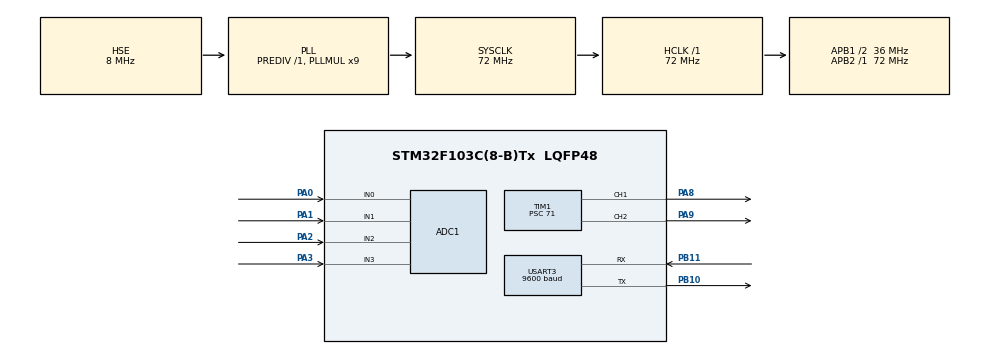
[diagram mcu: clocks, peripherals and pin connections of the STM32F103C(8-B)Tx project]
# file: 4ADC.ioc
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ADC1.Channel-0\#ChannelRegularConversion=ADC_CHANNEL_0
ADC1.Channel-1\#ChannelRegularConversion=ADC_CHANNEL_1
ADC1.Channel-4\#ChannelRegularConversion=ADC_CHANNEL_2
ADC1.Channel-5\#ChannelRegularConversion=ADC_CHANNEL_3
ADC1.ContinuousConvMode=DISABLE
ADC1.NbrOfConversion=4
ADC1.NbrOfConversionFlag=1
ADC1.Rank-0\#ChannelRegularConversion=1
ADC1.Rank-1\#ChannelRegularConversion=2
ADC1.Rank-4\#ChannelRegularConversion=3
ADC1.Rank-5\#ChannelRegularConversion=4
ADC1.SamplingTime-0\#ChannelRegularConversion=ADC_SAMPLETIME_1CYCLE_5
ADC1.SamplingTime-1\#ChannelRegularConversion=ADC_SAMPLETIME_1CYCLE_5
ADC1.SamplingTime-4\#ChannelRegularConversion=ADC_SAMPLETIME_1CYCLE_5
ADC1.SamplingTime-5\#ChannelRegularConversion=ADC_SAMPLETIME_1CYCLE_5
ADC1.master=1
Dma.ADC1.0.Direction=DMA_PERIPH_TO_MEMORY
Dma.ADC1.0.Instance=DMA1_Channel1
Dma.ADC1.0.MemDataAlignment=DMA_MDATAALIGN_HALFWORD
Dma.ADC1.0.MemInc=DMA_MINC_ENABLE
Dma.ADC1.0.Mode=DMA_NORMAL
Dma.ADC1.0.PeriphDataAlignment=DMA_PDATAALIGN_HALFWORD
Dma.ADC1.0.PeriphInc=DMA_PINC_DISABLE
Dma.ADC1.0.Priority=DMA_PRIORITY_LOW
Dma.Request0=ADC1
Mcu.Family=STM32F1
Mcu.Name=STM32F103C(8-B)Tx
Mcu.Package=LQFP48
NVIC.DMA1_Channel1_IRQn=true\:0\:0\:false\:false\:true\:false\:true\:true
NVIC.PriorityGroup=NVIC_PRIORITYGROUP_4
PA0-WKUP.Signal=ADCx_IN0
PA1.Signal=ADCx_IN1
PA13.Mode=Serial_Wire
PA13.Signal=SYS_JTMS-SWDIO
PA14.Mode=Serial_Wire
PA14.Signal=SYS_JTCK-SWCLK
PA2.Signal=ADCx_IN2
PA3.Signal=ADCx_IN3
PA8.Signal=S_TIM1_CH1
PA9.Signal=S_TIM1_CH2
PB10.Mode=Asynchronous
PB10.Signal=USART3_TX
PB11.Mode=Asynchronous
PB11.Signal=USART3_RX
PC14-OSC32_IN.Mode=LSE-External-Oscillator
PC14-OSC32_IN.Signal=RCC_OSC32_IN
PC15-OSC32_OUT.Mode=LSE-External-Oscillator
PC15-OSC32_OUT.Signal=RCC_OSC32_OUT
PD0-OSC_IN.Mode=HSE-External-Oscillator
PD0-OSC_IN.Signal=RCC_OSC_IN
PD1-OSC_OUT.Mode=HSE-External-Oscillator
PD1-OSC_OUT.Signal=RCC_OSC_OUT
ProjectManager.HeapSize=0x200
ProjectManager.StackSize=0x400
ProjectManager.TargetToolchain=MDK-ARM V5.32
RCC.ADCPresc=RCC_ADCPCLK2_DIV6
RCC.AHBFreq_Value=72000000
RCC.APB1CLKDivider=RCC_HCLK_DIV2
RCC.APB1Freq_Value=36000000
RCC.APB1TimFreq_Value=72000000
RCC.APB2Freq_Value=72000000
RCC.APB2TimFreq_Value=72000000
RCC.HCLKFreq_Value=72000000
RCC.PLLMUL=RCC_PLL_MUL9
RCC.PLLSourceVirtual=RCC_PLLSOURCE_HSE
RCC.SYSCLKFreq_VALUE=72000000
RCC.SYSCLKSource=RCC_SYSCLKSOURCE_PLLCLK
RCC.USBFreq_Value=72000000
SH.ADCx_IN0.0=ADC1_IN0,IN0
SH.ADCx_IN1.0=ADC1_IN1,IN1
SH.ADCx_IN2.0=ADC1_IN2,IN2
SH.ADCx_IN3.0=ADC1_IN3,IN3
SH.S_TIM1_CH1.0=TIM1_CH1,PWM Generation1 CH1
SH.S_TIM1_CH2.0=TIM1_CH2,PWM Generation2 CH2
TIM1.Channel-PWM\ Generation1\ CH1=TIM_CHANNEL_1
TIM1.Channel-PWM\ Generation2\ CH2=TIM_CHANNEL_2
TIM1.Period=19999
TIM1.Prescaler=71
TIM1.Pulse-PWM\ Generation1\ CH1=1500
TIM1.Pulse-PWM\ Generation2\ CH2=1500
USART3.BaudRate=9600
USART3.VirtualMode=VM_ASYNC
board=custom

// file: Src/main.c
/* USER CODE BEGIN Header */
/**
  ******************************************************************************
  * @file           : main.c
  * @brief          : Main program body
  ******************************************************************************
  * @attention
  *
  * Copyright (c) 2022 STMicroelectronics.
  * All rights reserved.
  *
  * This software is licensed under terms that can be found in the LICENSE file
  * in the root directory of this software component.
  * If no LICENSE file comes with this software, it is provided AS-IS.
  *
  ******************************************************************************
  */
/* USER CODE END Header */
#include "main.h"
#include "adc.h"
#include "dma.h"
#include "tim.h"
#include "usart.h"
#include "gpio.h"

void SystemClock_Config(void);

/* USER CODE BEGIN 0 */
#define tol   60     //照度的相应范围，越小越敏感，反之迟缓  （取值10~100 根据环境光强度不同敏感度也不同，室内光源变化幅度大，阳光下变化小）
int servoh = 1500;             //默认角度
int servohLimitHigh = 2500;   //水平转动最大角度
int servohLimitLow = 500;      //水平转动最小角度
int servov = 1500;             //默认角度
int servovLimitHigh = 2500;   //垂直转动最大角度
int servovLimitLow = 1500;     //垂直转动最小角度

#include "stdio.h"
int fputc(int ch, FILE *f)    //     串口重定向
 {
	 HAL_UART_Transmit(&huart3, (uint8_t *)&ch, 1, 0xffff);
   return ch;
 }

uint16_t ADCvalue[4]={0};

void ADC_DMA_caiji()
{
  HAL_ADC_Start_DMA(&hadc1,(uint32_t *)ADCvalue,4);//启动DMA
}

void HAL_ADC_ConvCpltCallback(ADC_HandleTypeDef* hadc)//DMA采集完成中断服务函数
{
//	printf("左上%d",ADCvalue[0]);
//	printf("右上%d",ADCvalue[1]);
//	printf("左下%d",ADCvalue[2]);
//	printf("右下%d\r\n",ADCvalue[3]);
	HAL_ADC_Stop_DMA(&hadc1);//关闭DMA的ADC采集
	int lt = ADCvalue[0]; //左上
  int rt = ADCvalue[1]; //右上
  int ld = ADCvalue[2]; //左下
  int rd = ADCvalue[3]; //右下
	int avt = (lt + rt) / 2;
  int avd = (ld + rd) / 2;
  int avl = (lt + ld) / 2;
  int avr = (rt + rd) / 2;
  int dvert = avt - avd;    //上下行
  int dhoriz = avl - avr;

	//检查差异是否在公差范围内，否则改变垂直角度
	if (-1*tol > dvert || dvert > tol)
   {
      if (avt < avd)
      {
        servov = servov+11;
         if (servov > servovLimitHigh)
         {
           servov = servovLimitHigh;
         }
      }
      else if (avt > avd)
      {
        servov= servov-11;
        if (servov < servovLimitLow)
        {
          servov = servovLimitLow;
        }
      }
			__HAL_TIM_SET_COMPARE(&htim1,TIM_CHANNEL_2,servov);
    }

  //检查差异是否在公差范围内，否则改变水平角度
  if (-1*tol > dhoriz || dhoriz > tol)
  {
    if (avl < avr)
    {
      servoh = servoh-11;
      if (servoh < servohLimitLow)
      {
        servoh = servohLimitLow;
      }
    }
    else if (avl > avr)
    {
       servoh = servoh+11;
       if (servoh > servohLimitHigh)
       {
         servoh = servohLimitHigh;
       }
    }
		__HAL_TIM_SET_COMPARE(&htim1,TIM_CHANNEL_1,servoh);
  }
}

/* USER CODE END 0 */

int main(void)
{

  /* MCU Configuration--------------------------------------------------------*/

  /* Reset of all peripherals, Initializes the Flash interface and the Systick. */
  HAL_Init();

  /* Configure the system clock */
  SystemClock_Config();

  /* Initialize all configured peripherals */
  MX_GPIO_Init();
  MX_DMA_Init();
  MX_ADC1_Init();
  MX_USART3_UART_Init();
  MX_TIM1_Init();
  /* USER CODE BEGIN 2 */
  HAL_ADCEx_Calibration_Start(&hadc1);//校准ADC
  HAL_TIM_PWM_Start(&htim1,TIM_CHANNEL_1);
  HAL_TIM_PWM_Start(&htim1,TIM_CHANNEL_2);
  /* USER CODE END 2 */

  /* Infinite loop */
  while (1)
  {

    /* USER CODE BEGIN 3 */
		ADC_DMA_caiji();
		HAL_Delay(50);
  }
  /* USER CODE END 3 */
}

void SystemClock_Config(void)
{
  RCC_OscInitTypeDef RCC_OscInitStruct = {0};
  RCC_ClkInitTypeDef RCC_ClkInitStruct = {0};
  RCC_PeriphCLKInitTypeDef PeriphClkInit = {0};

  /** Initializes the RCC Oscillators according to the specified parameters
  * in the RCC_OscInitTypeDef structure.
  */
  RCC_OscInitStruct.OscillatorType = RCC_OSCILLATORTYPE_HSE;
  RCC_OscInitStruct.HSEState = RCC_HSE_ON;
  RCC_OscInitStruct.HSEPredivValue = RCC_HSE_PREDIV_DIV1;
  RCC_OscInitStruct.HSIState = RCC_HSI_ON;
  RCC_OscInitStruct.PLL.PLLState = RCC_PLL_ON;
  RCC_OscInitStruct.PLL.PLLSource = RCC_PLLSOURCE_HSE;
  RCC_OscInitStruct.PLL.PLLMUL = RCC_PLL_MUL9;
  if (HAL_RCC_OscConfig(&RCC_OscInitStruct) != HAL_OK)
  {
    Error_Handler();
  }

  /** Initializes the CPU, AHB and APB buses clocks
  */
  RCC_ClkInitStruct.ClockType = RCC_CLOCKTYPE_HCLK|RCC_CLOCKTYPE_SYSCLK
                              |RCC_CLOCKTYPE_PCLK1|RCC_CLOCKTYPE_PCLK2;
  RCC_ClkInitStruct.SYSCLKSource = RCC_SYSCLKSOURCE_PLLCLK;
  RCC_ClkInitStruct.AHBCLKDivider = RCC_SYSCLK_DIV1;
  RCC_ClkInitStruct.APB1CLKDivider = RCC_HCLK_DIV2;
  RCC_ClkInitStruct.APB2CLKDivider = RCC_HCLK_DIV1;

  if (HAL_RCC_ClockConfig(&RCC_ClkInitStruct, FLASH_LATENCY_2) != HAL_OK)
  {
    Error_Handler();
  }
  PeriphClkInit.PeriphClockSelection = RCC_PERIPHCLK_ADC;
  PeriphClkInit.AdcClockSelection = RCC_ADCPCLK2_DIV6;
  if (HAL_RCCEx_PeriphCLKConfig(&PeriphClkInit) != HAL_OK)
  {
    Error_Handler();
  }
}

void Error_Handler(void)
{
  __disable_irq();
  while (1)
  {
  }
}
